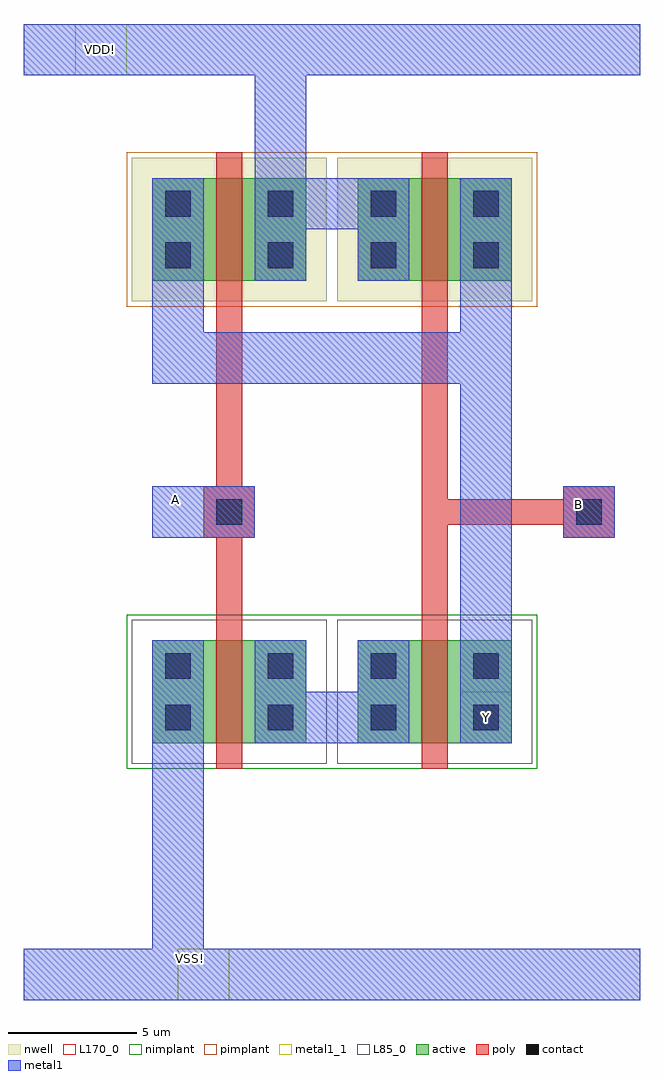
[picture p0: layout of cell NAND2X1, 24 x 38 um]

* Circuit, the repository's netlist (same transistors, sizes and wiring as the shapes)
* +++++++++++++++++++++++++++++++++++++++++++++++++++++++++ *
* CDL Netlist:                                              *
*                                                           *
* Cell Name  : NAND2X1                                      *
* Netlisted  : Fri Dec 17 11:21:21 2021                     *
* PVS Version: 16.15-s010 Fri Jun 28 22:24:07 PDT 2019      *
* +++++++++++++++++++++++++++++++++++++++++++++++++++++++++ *
*.LDD
*.DEVTMPLT 0 MN(nmos3) _nmos1v _soi_nd(D) poly_conn(G) _soi_nsb(S) _soi_nsb(B)
*.DEVTMPLT 1 MP(pmos3) _pmos1v _soi_pd(D) poly_conn(G) _soi_psb(S) _soi_psb(B)

* +++++++++++++++++++++++++++++++++++++++++++++++++++++++++ *
* Sub cell: pmos3_CDNS_2                                    *
* +++++++++++++++++++++++++++++++++++++++++++++++++++++++++ *
.subckt pmos3_CDNS_2 2 3 4
** N=5 EP=3 FDC=1
M0 3 4 2 2 pmos3 L=1e-06 W=4e-06 AD=1e-11 AS=0 PD=1.3e-05 PS=0 fw=4e-06 sa=2e-06 sb=2e-06 $X=7000 $Y=2000 $dt=1
.ends pmos3_CDNS_2

* +++++++++++++++++++++++++++++++++++++++++++++++++++++++++ *
* Sub cell: nmos3_CDNS_3                                    *
* +++++++++++++++++++++++++++++++++++++++++++++++++++++++++ *
.subckt nmos3_CDNS_3 2 3 4
** N=4 EP=3 FDC=1
M0 3 4 2 2 nmos3 L=1e-06 W=4e-06 AD=1e-11 AS=0 PD=1.3e-05 PS=0 fw=4e-06 sa=2e-06 sb=2e-06 $X=7000 $Y=2000 $dt=0
.ends nmos3_CDNS_3

* +++++++++++++++++++++++++++++++++++++++++++++++++++++++++ *
* Sub cell: NAND2X1                                         *
* +++++++++++++++++++++++++++++++++++++++++++++++++++++++++ *
.subckt NAND2X1 A B VDD! VSS! Y
** N=9 EP=5 FDC=4
X2 VDD! Y A pmos3_CDNS_2 $T=8000 64000 1 0 $X=8000 $Y=50000
X3 VDD! Y B pmos3_CDNS_2 $T=40000 64000 0 180 $X=24000 $Y=50000
X4 VSS! 7 A nmos3_CDNS_3 $T=24000 16000 1 180 $X=8000 $Y=16000
X5 7 Y B nmos3_CDNS_3 $T=40000 16000 1 180 $X=24000 $Y=16000
.ends NAND2X1

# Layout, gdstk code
from math import pi, radians
import gdstk
lib = gdstk.Library(unit=1e-6, precision=5e-10)
def R(c, l, rs):  # rectangles x0, y0, x1, y1
    for r in rs: c.add(gdstk.rectangle(r[:2], r[2:], *l))
active = (1, 0)
nwell = (2, 0)
poly = (3, 0)
nimplant = (4, 0)
pimplant = (5, 0)
contact = (6, 0)
metal1 = (7, 0)
metal1_1 = (7, 1)
L85_0 = (85, 0)
L170_0 = (170, 0)

pmos3_cdns_2 = lib.new_cell('pmos3_CDNS_2')
R(pmos3_cdns_2, active, [(1,1,7,5)])
R(pmos3_cdns_2, nwell, [(0.2,0.2,7.8,5.8)])
R(pmos3_cdns_2, poly, [(3.5,0,4.5,7), (3.6,5.6,4.4,5.9)])
R(pmos3_cdns_2, pimplant, [(0,0,8,6)])
R(pmos3_cdns_2, contact, [(1.5,1.5,2.5,2.5), (5.5,1.5,6.5,2.5), (5.5,1.5,6.5,2.5), (1.5,3.5,2.5,4.5), (5.5,3.5,6.5,4.5)])
R(pmos3_cdns_2, metal1, [(1,1,3,5), (5,1,7,5), (1.3,1.3,2.7,2.7), (5.3,1.3,6.7,2.7)])
R(pmos3_cdns_2, L170_0, [(4.5,1,7,5)])

nmos3_cdns_3 = lib.new_cell('nmos3_CDNS_3')
R(nmos3_cdns_3, active, [(1,1,7,5)])
R(nmos3_cdns_3, poly, [(3.5,0,4.5,7), (3.6,5.5,4.4,5.9)])
R(nmos3_cdns_3, nimplant, [(0,0,8,6)])
R(nmos3_cdns_3, contact, [(1.5,1.5,2.5,2.5), (5.5,1.5,6.5,2.5), (5.5,1.5,6.5,2.5), (1.5,3.5,2.5,4.5), (5.5,3.5,6.5,4.5)])
R(nmos3_cdns_3, metal1, [(1,1,3,5), (5,1,7,5), (1.3,1.3,2.7,4.7), (5.3,1.3,6.7,4.7)])
R(nmos3_cdns_3, L85_0, [(0.2,0.2,7.8,5.8)])
R(nmos3_cdns_3, L170_0, [(4.5,1,7,5)])

m1_po_cdns_1 = lib.new_cell('M1_PO_CDNS_1')
R(m1_po_cdns_1, poly, [(-1,-1,1,1)])
R(m1_po_cdns_1, contact, [(-0.5,-0.5,0.5,0.5)])
R(m1_po_cdns_1, metal1, [(-1,-1,1,1)])

nand2x1 = lib.new_cell('NAND2X1')
R(nand2x1, metal1, [(5,17,9,19), (21,17,23,19)])
R(nand2x1, metal1_1, [(6,-1,8,1), (17,9,19,11), (5,17,7,19), (21,17,23,19), (2,35,4,37)])
nand2x1.add(gdstk.FlexPath([(0,0),(6,0)], 2, ends=(0, 1), simple_path=True, layer=7, datatype=0))  # metal1
nand2x1.add(gdstk.FlexPath([(6,10.7),(6,0)], 2, ends=(0, 1), simple_path=True, layer=7, datatype=0))  # metal1
nand2x1.add(gdstk.FlexPath([(18,9.3),(18,24)], 2, ends=(0, 1), simple_path=True, layer=7, datatype=0))  # metal1
nand2x1.add(gdstk.FlexPath([(9.3,10),(14.7,10)], 2, ends="flush", simple_path=True, layer=7, datatype=0))  # metal1
nand2x1.add(gdstk.FlexPath([(18,24),(18,31)], 2, ends=(1, 0), simple_path=True, layer=7, datatype=0))  # metal1
nand2x1.add(gdstk.FlexPath([(6,24),(18,24)], 2, ends="extended", simple_path=True, layer=7, datatype=0))  # metal1
nand2x1.add(gdstk.FlexPath([(6,31),(6,24)], 2, ends=(0, 1), simple_path=True, layer=7, datatype=0))  # metal1
nand2x1.add(gdstk.FlexPath([(0,36),(10,36)], 2, ends=(0, 1), simple_path=True, layer=7, datatype=0))  # metal1
nand2x1.add(gdstk.FlexPath([(10,30),(10,36)], 2, ends="extended", simple_path=True, layer=7, datatype=0))  # metal1
nand2x1.add(gdstk.FlexPath([(10,27.3),(10,30)], 2, ends=(0, 1), simple_path=True, layer=7, datatype=0))  # metal1
nand2x1.add(gdstk.FlexPath([(10,30),(15,30)], 2, ends=(1, 0), simple_path=True, layer=7, datatype=0))  # metal1
nand2x1.add(gdstk.FlexPath([(6,0),(24,0)], 2, ends=(1, 0), simple_path=True, layer=7, datatype=0))  # metal1
nand2x1.add(gdstk.FlexPath([(10,36),(24,36)], 2, ends=(1, 0), simple_path=True, layer=7, datatype=0))  # metal1
nand2x1.add(gdstk.FlexPath([(16,11.5),(16,18)], 1, ends=(0, 0.5), simple_path=True, layer=3, datatype=0))  # poly
nand2x1.add(gdstk.FlexPath([(16,18),(22,18)], 1, ends=(0.5, 0), simple_path=True, layer=3, datatype=0))  # poly
nand2x1.add(gdstk.FlexPath([(16,18),(16,26.7)], 1, ends=(0.5, 0), simple_path=True, layer=3, datatype=0))  # poly
nand2x1.add(gdstk.FlexPath([(8,11.5),(8,26.6)], 1, ends="flush", simple_path=True, layer=3, datatype=0))  # poly
nand2x1.add(gdstk.Reference(pmos3_cdns_2, (20,32), rotation=pi))
nand2x1.add(gdstk.Reference(pmos3_cdns_2, (4,32), x_reflection=True))
nand2x1.add(gdstk.Reference(nmos3_cdns_3, (12,8), rotation=pi, x_reflection=True))
nand2x1.add(gdstk.Reference(nmos3_cdns_3, (20,8), rotation=pi, x_reflection=True))
nand2x1.add(gdstk.Reference(m1_po_cdns_1, (22,18)))
nand2x1.add(gdstk.Reference(m1_po_cdns_1, (8,18)))
nand2x1.add(gdstk.Label('VDD!', (3,36), layer=7, texttype=0))
nand2x1.add(gdstk.Label('B', (21.6,18.3), layer=7, texttype=3))
nand2x1.add(gdstk.Label('VSS!', (6.5,0.6), layer=7, texttype=3))
nand2x1.add(gdstk.Label('Y', (18,10), layer=7, texttype=3))
nand2x1.add(gdstk.Label('A', (5.9,18.5), layer=7, texttype=3))
nand2x1.add(gdstk.Label('VDD!', (2.9,35.6), layer=7, texttype=3))

lib.write_gds('NAND2X1.gds')
